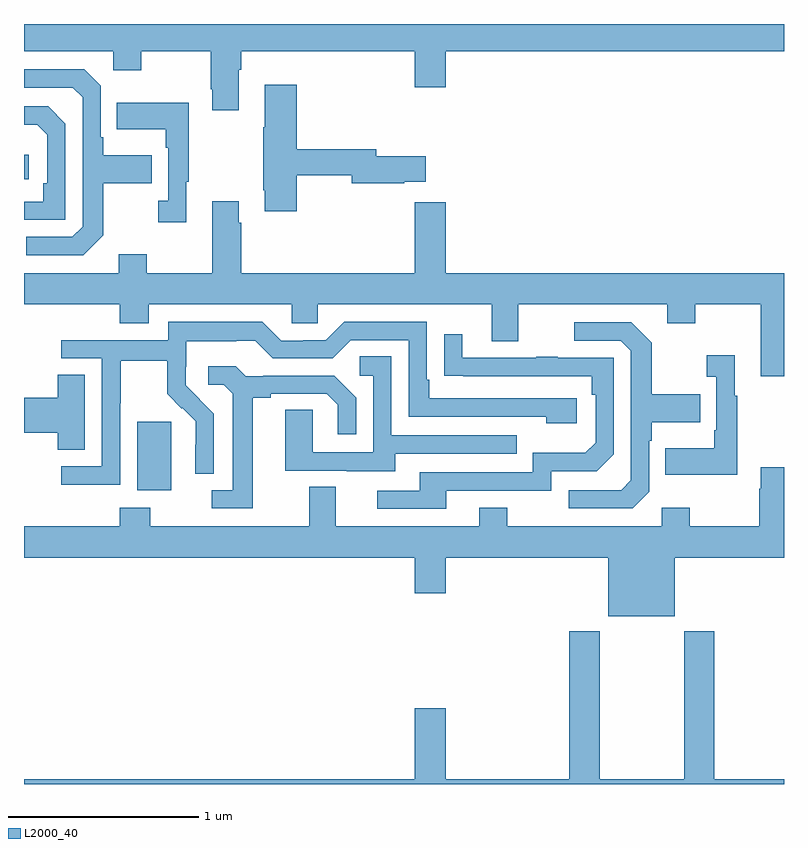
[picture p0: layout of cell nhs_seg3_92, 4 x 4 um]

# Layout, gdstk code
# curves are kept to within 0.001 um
import gdstk
lib = gdstk.Library(unit=1e-6, precision=1e-09)
def R(c, l, rs):  # rectangles x0, y0, x1, y1
    for r in rs: c.add(gdstk.rectangle(r[:2], r[2:], *l))
def P(c, l, *ps):  # polygons
    for p in ps: c.add(gdstk.Polygon(p, *l))
L2000_40 = (2000, 40)

nhs_seg3_92 = lib.new_cell('nhs_seg3_92')
R(nhs_seg3_92, L2000_40, [(115.595,691.946,115.774,692.307), (115,693.582,115.024,693.712)])
P(nhs_seg3_92, L2000_40, [(116.131,694.16),(116.144,694.16),(116.144,694.256),(117.056,694.256),(117.056,694.068),(117.22,694.068),(117.22,694.256),(119,694.256),(119,694.4),(115,694.4),(115,694.256),(115.47,694.256),(115.47,694.157),(115.617,694.157),(115.617,694.256),(115.984,694.256),(115.984,694.057),(115.991,694.057),(115.991,693.945),(116.131,693.945)],
  [(115.417,693.289),(115.417,693.562),(115.673,693.562),(115.673,693.709),(115.417,693.709),(115.417,693.805),(115.404,693.805),(115.404,694.074),(115.317,694.161),(115,694.161),(115,694.065),(115.257,694.065),(115.308,694.014),(115.308,693.333),(115.254,693.279),(115.011,693.279),(115.011,693.183),(115.311,693.183)],
  [(116.435,693.604),(116.726,693.604),(116.726,693.562),(117.002,693.562),(117.002,693.569),(117.115,693.569),(117.115,693.704),(116.854,693.704),(116.854,693.74),(116.435,693.74),(116.435,694.081),(116.267,694.081),(116.267,693.857),(116.26,693.857),(116.26,693.526),(116.267,693.526),(116.267,693.414),(116.435,693.414)],
  [(115.855,693.569),(115.867,693.569),(115.867,693.985),(115.489,693.985),(115.489,693.845),(115.746,693.845),(115.746,693.749),(115.758,693.749),(115.758,693.47),(115.707,693.47),(115.707,693.357),(115.855,693.357)],
  [(115.218,693.876),(115.128,693.966),(115,693.966),(115,693.869),(115.069,693.869),(115.122,693.816),(115.122,693.562),(115.102,693.562),(115.102,693.465),(115,693.465),(115,693.369),(115.218,693.369)],
  [(119,693.088),(117.22,693.088),(117.22,693.463),(117.056,693.463),(117.056,693.088),(116.144,693.088),(116.144,693.353),(116.131,693.353),(116.131,693.466),(115.991,693.466),(115.991,693.088),(115.647,693.088),(115.647,693.187),(115.499,693.187),(115.499,693.088),(115,693.088),(115,692.924),(115.505,692.924),(115.505,692.825),(115.657,692.825),(115.657,692.924),(116.409,692.924),(116.409,692.826),(116.547,692.826),(116.547,692.924),(117.461,692.924),(117.461,692.73),(117.601,692.73),(117.601,692.924),(118.385,692.924),(118.385,692.825),(118.533,692.825),(118.533,692.924),(118.877,692.924),(118.877,692.547),(119,692.547)],
  [(115.506,692.404),(115.509,692.404),(115.509,692.628),(115.753,692.628),(115.753,692.453),(115.83,692.376),(115.833,692.379),(115.904,692.309),(115.904,692.186),(115.902,692.186),(115.902,692.032),(115.998,692.032),(115.998,692.35),(115.852,692.498),(115.852,692.595),(115.854,692.595),(115.854,692.729),(116.117,692.729),(116.117,692.733),(116.217,692.733),(116.31,692.64),(116.625,692.64),(116.721,692.736),(117.024,692.736),(117.024,692.334),(117.749,692.334),(117.749,692.3),(117.91,692.3),(117.91,692.43),(117.133,692.43),(117.133,692.527),(117.12,692.527),(117.12,692.832),(116.685,692.832),(116.589,692.736),(116.471,692.736),(116.471,692.733),(116.355,692.733),(116.255,692.833),(115.758,692.833),(115.758,692.736),(115.197,692.736),(115.197,692.64),(115.41,692.64),(115.41,692.073),(115.197,692.073),(115.197,691.975),(115.506,691.975)],
  [(118.29,691.938),(118.29,692.207),(118.303,692.207),(118.303,692.303),(118.559,692.303),(118.559,692.451),(118.303,692.451),(118.303,692.723),(118.197,692.829),(117.897,692.829),(117.897,692.733),(118.14,692.733),(118.194,692.679),(118.194,691.998),(118.143,691.947),(117.867,691.947),(117.867,691.851),(118.203,691.851)],
  [(117.223,691.944),(117.774,691.944),(117.774,692.046),(118.014,692.046),(118.104,692.136),(118.104,692.643),(117.809,692.643),(117.809,692.648),(117.697,692.648),(117.697,692.643),(117.307,692.643),(117.307,692.767),(117.211,692.767),(117.211,692.548),(117.988,692.547),(117.988,692.45),(118.008,692.45),(118.008,692.196),(117.955,692.143),(117.678,692.143),(117.678,692.04),(117.083,692.04),(117.083,691.944),(116.859,691.944),(116.859,691.848),(117.223,691.848)],
  [(118.753,692.443),(118.741,692.443),(118.741,692.656),(118.593,692.656),(118.593,692.543),(118.644,692.543),(118.644,692.263),(118.632,692.263),(118.632,692.167),(118.375,692.167),(118.375,692.027),(118.753,692.027)],
  [(116.953,692.139),(117.593,692.139),(117.593,692.235),(116.934,692.235),(116.934,692.651),(116.766,692.651),(116.766,692.55),(116.838,692.55),(116.838,692.145),(116.52,692.145),(116.52,692.369),(116.375,692.369),(116.375,692.049),(116.699,692.049),(116.699,692.045),(116.953,692.045)],
  [(116.203,692.432),(116.299,692.432),(116.299,692.454),(116.594,692.454),(116.651,692.397),(116.651,692.241),(116.748,692.241),(116.748,692.434),(116.632,692.55),(116.26,692.55),(116.26,692.547),(116.166,692.547),(116.114,692.599),(115.971,692.599),(115.971,692.502),(116.052,692.502),(116.099,692.455),(116.099,691.947),(115.989,691.947),(115.989,691.851),(116.203,691.851)],
  [(115.321,692.555),(115.178,692.555),(115.178,692.432),(115,692.432),(115,692.249),(115.178,692.249),(115.178,692.158),(115.321,692.158)],
  [(118.426,691.592),(119,691.592),(119,692.068),(118.877,692.068),(118.877,691.955),(118.87,691.955),(118.87,691.756),(118.503,691.756),(118.503,691.855),(118.356,691.855),(118.356,691.756),(117.543,691.756),(117.543,691.855),(117.395,691.855),(117.395,691.756),(116.641,691.756),(116.641,691.964),(116.501,691.964),(116.501,691.756),(115.665,691.756),(115.665,691.855),(115.505,691.855),(115.505,691.756),(115,691.756),(115,691.592),(117.056,691.592),(117.056,691.404),(117.22,691.404),(117.22,691.592),(118.076,691.592),(118.076,691.283),(118.426,691.283)],
  [(119,690.424),(118.634,690.424),(118.634,691.204),(118.474,691.204),(118.474,690.424),(118.029,690.424),(118.029,691.204),(117.869,691.204),(117.869,690.424),(117.22,690.424),(117.22,690.799),(117.056,690.799),(117.056,690.424),(115,690.424),(115,690.4),(119,690.4)])

lib.write_gds('nhs_seg3_92.gds')
